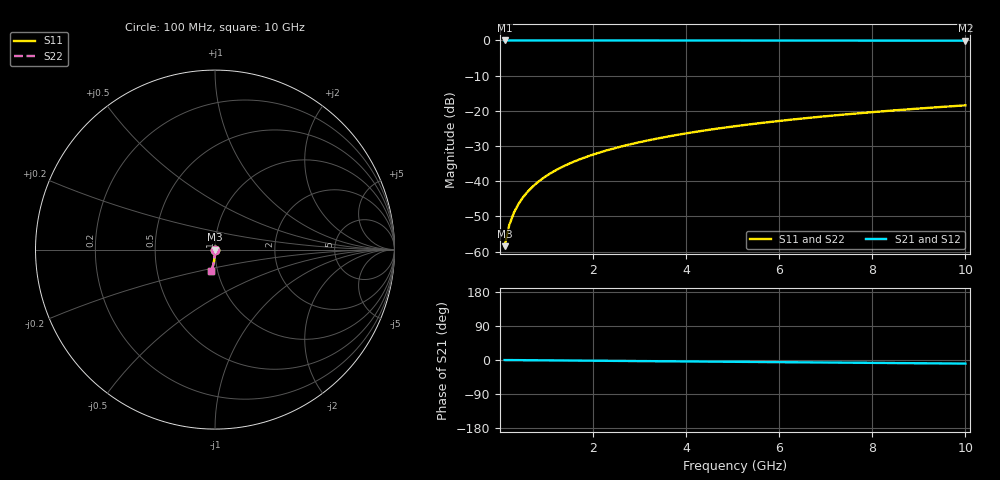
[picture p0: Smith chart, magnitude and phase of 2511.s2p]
# Hz S RI R 50.00
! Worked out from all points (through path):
!   100 points, 100 MHz to 10 GHz, reference 50 ohm
!   highest |S21| = 0.00 dB at 100 MHz (marker M1); lowest = -0.1 dB at 10 GHz (marker M2)
!   group delay of S21, straight-line fit = 2.63 ps
!   lowest |S11| = -58.5 dB at 100 MHz (marker M3), VSWR 1.00, Z = 50 - j0.119 ohm
!   |S11| at or under -10 dB: start of sweep to end of sweep
!   |S22| runs from -58.5 to -18.4 dB; largest |S21 - S12| = 0
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1e8  6.43e-05 -0.00119  0.9999 -0.00164  0.9999 -0.00164  6.43e-05 -0.00119
2e8  5.76e-05 -0.00238  0.9999 -0.00327  0.9999 -0.00327  5.76e-05 -0.00238
3e8  4.68e-05 -0.00357  0.9999 -0.00491  0.9999 -0.00491  4.68e-05 -0.00357
4e8  3.2e-05 -0.00477  0.9999 -0.00655  0.9999 -0.00655  3.2e-05 -0.00477
5e8  1.33e-05 -0.00596  0.9999 -0.00819  0.9999 -0.00819  1.33e-05 -0.00596
6e8  -9.28e-06 -0.00715  0.9998 -0.00983  0.9998 -0.00983  -9.28e-06 -0.00715
7e8  -3.58e-05 -0.00834  0.9998 -0.0115  0.9998 -0.0115  -3.58e-05 -0.00834
8e8  -6.63e-05 -0.00953  0.9998 -0.0131  0.9998 -0.0131  -6.63e-05 -0.00953
9e8  -0.000101 -0.0107  0.9998 -0.0147  0.9998 -0.0147  -0.000101 -0.0107
1.1e9  -0.000181 -0.0131  0.9997 -0.018  0.9997 -0.018  -0.000181 -0.0131
1.4e9  -0.000332 -0.0167  0.9995 -0.0229  0.9995 -0.0229  -0.000332 -0.0167
1.8e9  -0.000587 -0.0215  0.9992 -0.0295  0.9992 -0.0295  -0.000587 -0.0215
2.1e9  -0.00082 -0.025  0.999 -0.0344  0.999 -0.0344  -0.00082 -0.025
2.5e9  -0.00119 -0.0298  0.9986 -0.041  0.9986 -0.041  -0.00119 -0.0298
2.9e9  -0.00162 -0.0346  0.9982 -0.0475  0.9982 -0.0475  -0.00162 -0.0346
3.4e9  -0.00224 -0.0406  0.9975 -0.0558  0.9975 -0.0558  -0.00224 -0.0406
4.2e9  -0.00345 -0.0501  0.9962 -0.0689  0.9962 -0.0689  -0.00345 -0.0501
5.1e9  -0.00511 -0.0608  0.9945 -0.0837  0.9945 -0.0837  -0.00511 -0.0608
5.9e9  -0.00685 -0.0703  0.9926 -0.0968  0.9926 -0.0968  -0.00685 -0.0703
6.7e9  -0.00885 -0.0797  0.9905 -0.1098  0.9905 -0.1098  -0.00885 -0.0797
8.4e9  -0.0139 -0.0996  0.9852 -0.1375  0.9852 -0.1375  -0.0139 -0.0996
1e10  -0.0197 -0.118  0.9791 -0.1632  0.9791 -0.1632  -0.0197 -0.118
